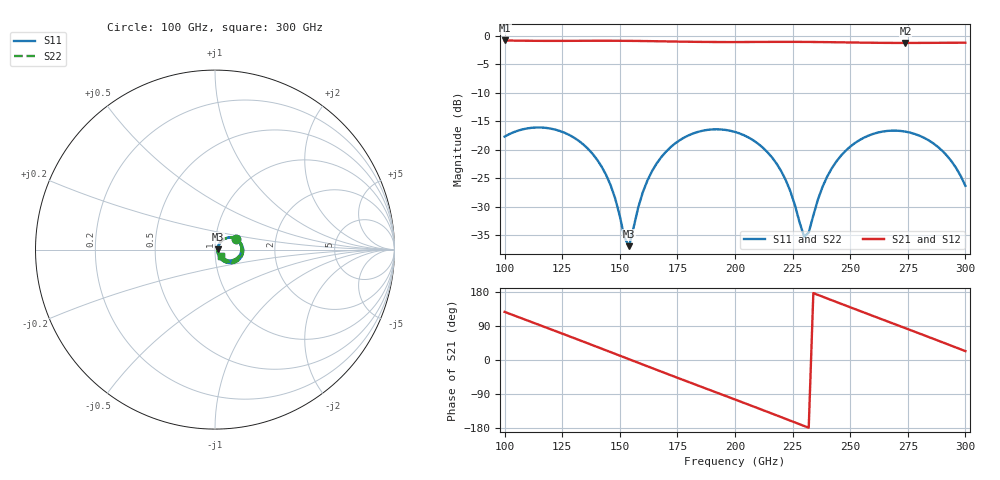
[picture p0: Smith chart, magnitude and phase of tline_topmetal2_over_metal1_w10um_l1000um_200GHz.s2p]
#  GHZ S DB R 50
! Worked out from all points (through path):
!   101 points, 100 GHz to 300 GHz, reference 50 ohm
!   highest |S21| = -0.83 dB at 100 GHz (marker M1); lowest = -1.3 dB at 274 GHz (marker M2)
!   group delay of S21, straight-line fit = 6.44 ps
!   lowest |S11| = -36.9 dB at 154 GHz (marker M3), VSWR 1.03, Z = 51.4 + j0.216 ohm
!   |S11| at or under -10 dB: start of sweep to end of sweep
!   |S22| runs from -37.2 to -16.1 dB; largest |S21 - S12| = 1e-13
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100  -17.68 27.0  -0.83 127.0  -0.83 127.0  -17.69 27.1
116  -16.09 -5.8  -0.90 90.3  -0.90 90.3  -16.10 -5.8
124  -16.70 -22.3  -0.90 72.0  -0.90 72.0  -16.71 -22.3
134  -19.00 -42.2  -0.89 48.9  -0.89 48.9  -19.01 -42.3
144  -24.35 -57.9  -0.88 25.5  -0.88 25.5  -24.38 -58.3
154  -36.88 8.4  -0.90 2.1  -0.90 2.1  -37.22 8.9
160  -27.42 54.1  -0.93 -12.0  -0.93 -12.0  -27.47 54.8
168  -21.28 46.4  -0.98 -30.6  -0.98 -30.6  -21.29 46.8
184  -16.84 15.9  -1.08 -67.5  -1.08 -67.5  -16.86 16.2
200  -16.86 -16.6  -1.11 -104.2  -1.11 -104.2  -16.87 -16.4
218  -22.39 -49.2  -1.08 -146.0  -1.08 -146.0  -22.40 -49.1
224  -27.23 -52.3  -1.08 -160.0  -1.08 -160.0  -27.24 -52.3
230  -35.24 -11.1  -1.09 -174.1  -1.09 -174.1  -35.27 -10.9
232  -34.48 23.8  -1.09 -178.8  -1.09 -178.8  -34.51 24.0
234  -31.50 43.5  -1.10 176.5  -1.10 176.5  -31.51 43.7
240  -24.70 52.8  -1.13 162.5  -1.13 162.5  -24.70 53.0
246  -21.03 45.7  -1.16 148.5  -1.16 148.5  -21.03 45.8
258  -17.50 23.8  -1.23 120.7  -1.23 120.7  -17.50 23.9
268  -16.64 3.9  -1.26 97.7  -1.26 97.7  -16.64 4.0
274  -16.81 -8.1  -1.26 83.9  -1.26 83.9  -16.81 -8.0
290  -20.18 -38.0  -1.24 46.8  -1.24 46.8  -20.19 -38.2
300  -26.30 -47.3  -1.23 23.4  -1.23 23.4  -26.33 -47.8
